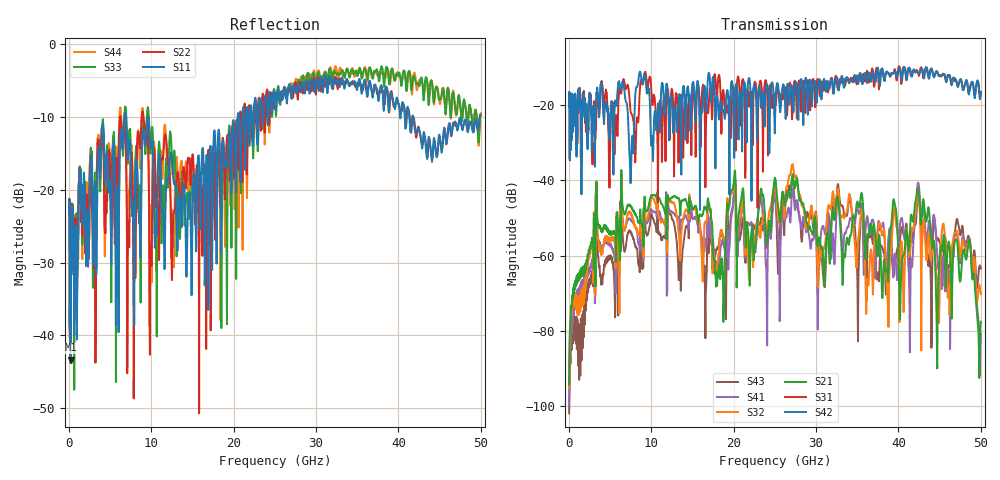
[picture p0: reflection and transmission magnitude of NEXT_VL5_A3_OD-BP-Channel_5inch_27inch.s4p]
#	Hz	S	RI	R	50
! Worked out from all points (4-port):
!   2500 points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, 20 MHz to 50 GHz, reference 50 ohm
!   strongest paths, dB at 20 MHz, 12.52 GHz, 25.02 GHz, 37.52 GHz, 50 GHz:
!     S42: -20.5, -19.2, -24.2, -10.2, -16.6
!     S31: -20.5, -15.9, -18.0, -11.7, -16.5
!     S21: -94.3, -44.7, -39.3, -58.7, -77.6
!     S32: -95.2, -46.0, -41.1, -53.5, -70.2
!     S41: -99.5, -48.6, -41.8, -51.6, -80.8
!     S43: -101.9, -50.4, -43.8, -64.6, -63.4
!   lowest |S11| = -43.4 dB at 200 MHz (marker M1), VSWR 1.01, Z = 49.8 + j0.631 ohm
!   |S11| at or under -10 dB: start of sweep to 6.757 GHz; 9.626 GHz to 20.47 GHz (10.84 GHz wide, 72.1 % of centre); 41.8 GHz to 49.88 GHz (8.08 GHz wide, 17.6 % of centre)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
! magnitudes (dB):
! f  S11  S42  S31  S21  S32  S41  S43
! 20 MHz  -22.9  -20.5  -20.5  -94.3  -95.2  -99.5  -101.9
! 200 MHz  -43.4  -31.9  -32.0  -77.2  -78.5  -83.8  -87.5
! 6.46 GHz  -13.6  -14.2  -14.8  -45.7  -49.5  -48.4  -52.0
! 7.6 GHz  -22.4  -31.0  -22.4  -47.0  -49.0  -50.5  -54.0
! 41.46 GHz  -12.1  -10.8  -11.8  -50.2  -56.5  -66.4  -56.6
! 42.38 GHz  -11.5  -11.4  -11.5  -42.3  -43.4  -40.6  -43.3
! 50 GHz  -9.7  -16.6  -16.5  -77.6  -70.2  -80.8  -63.4
